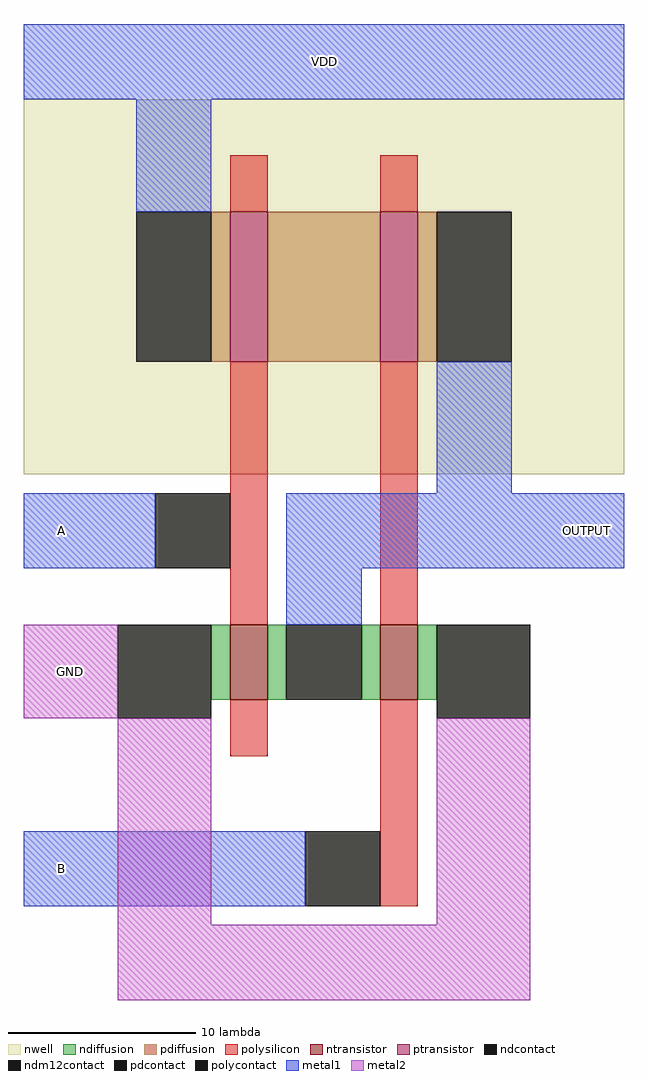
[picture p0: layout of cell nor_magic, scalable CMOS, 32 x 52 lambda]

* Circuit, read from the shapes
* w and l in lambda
.subckt nor_magic A B GND OUTPUT VDD
M1 OUTPUT A GND VSUBS nfet w=4 l=2
M2 GND B OUTPUT VSUBS nfet w=4 l=2
M3 n1 A VDD n2 pfet w=8 l=2
M4 OUTPUT B n1 n2 pfet w=8 l=2
.ends

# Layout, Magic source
magic
tech scmos
<< nwell >>
rect 0 0 32 20
<< ntransistor >>
rect 11 -12 13 -8
rect 19 -12 21 -8
<< ptransistor >>
rect 11 6 13 14
rect 19 6 21 14
<< ndiffusion >>
rect 10 -12 11 -8
rect 13 -12 14 -8
rect 18 -12 19 -8
rect 21 -12 22 -8
<< pdiffusion >>
rect 10 6 11 14
rect 13 6 19 14
rect 21 6 22 14
<< ndcontact >>
rect 14 -12 18 -8
<< pdcontact >>
rect 6 6 10 14
rect 22 6 26 14
<< polysilicon >>
rect 11 14 13 17
rect 19 14 21 17
rect 11 -8 13 6
rect 19 -8 21 6
rect 11 -15 13 -12
rect 19 -23 21 -12
<< polycontact >>
rect 7 -5 11 -1
rect 15 -23 19 -19
<< metal1 >>
rect 0 20 32 24
rect 6 14 10 20
rect 22 -1 26 6
rect 0 -5 7 -1
rect 14 -5 32 -1
rect 14 -8 18 -5
rect 0 -23 15 -19
<< ndm12contact >>
rect 5 -13 10 -8
rect 22 -13 27 -8
<< metal2 >>
rect 0 -13 5 -8
rect 5 -24 10 -13
rect 22 -24 27 -13
rect 5 -28 27 -24
<< labels >>
rlabel metal1 0 20 32 24 5 VDD
rlabel metal2 0 -13 5 -8 3 GND
rlabel metal1 0 -5 4 -1 3 A
rlabel metal1 0 -23 4 -19 3 B
rlabel metal1 28 -5 32 -1 7 OUTPUT
<< end >>
